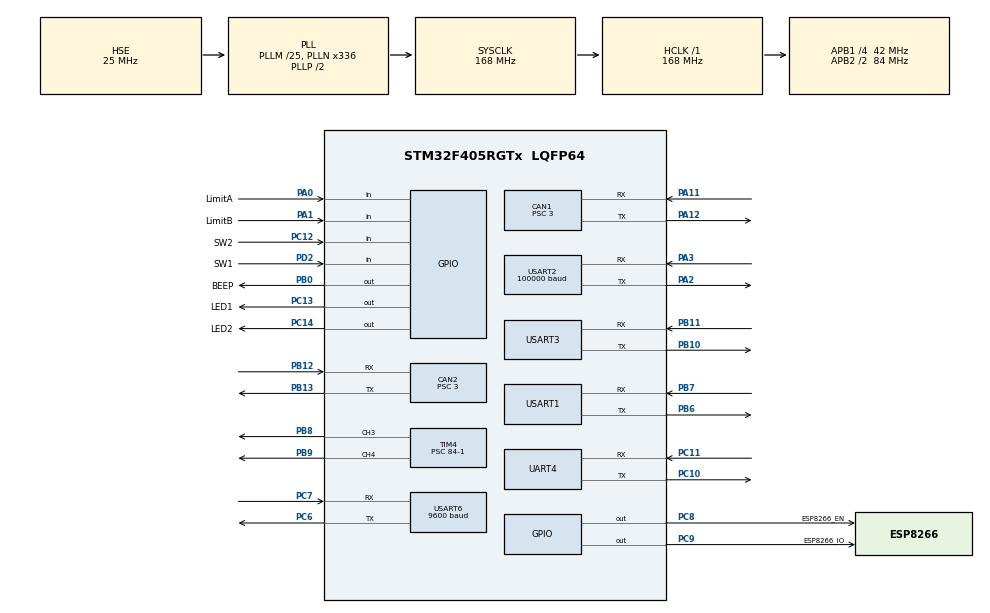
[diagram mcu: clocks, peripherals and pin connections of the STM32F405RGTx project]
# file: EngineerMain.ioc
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CAN1.BS1=CAN_BS1_9TQ
CAN1.BS2=CAN_BS2_4TQ
CAN1.CalculateTimeBit=1000
CAN1.CalculateTimeQuantum=71.42857142857143
CAN1.Prescaler=3
CAN2.BS1=CAN_BS1_9TQ
CAN2.BS2=CAN_BS2_4TQ
CAN2.CalculateTimeBit=1000
CAN2.CalculateTimeQuantum=71.42857142857143
CAN2.Prescaler=3
Dma.Request0=USART6_RX
Dma.Request1=USART6_TX
Dma.Request2=USART3_RX
Dma.Request3=USART3_TX
Dma.Request4=USART2_RX
Dma.Request5=USART2_TX
Dma.Request6=USART1_RX
Dma.Request7=USART1_TX
Dma.Request8=UART4_RX
Dma.Request9=UART4_TX
Dma.UART4_RX.8.Direction=DMA_PERIPH_TO_MEMORY
Dma.UART4_RX.8.FIFOMode=DMA_FIFOMODE_DISABLE
Dma.UART4_RX.8.Instance=DMA1_Stream2
Dma.UART4_RX.8.MemDataAlignment=DMA_MDATAALIGN_BYTE
Dma.UART4_RX.8.MemInc=DMA_MINC_ENABLE
Dma.UART4_RX.8.Mode=DMA_NORMAL
Dma.UART4_RX.8.PeriphDataAlignment=DMA_PDATAALIGN_BYTE
Dma.UART4_RX.8.PeriphInc=DMA_PINC_DISABLE
Dma.UART4_RX.8.Priority=DMA_PRIORITY_LOW
Dma.UART4_TX.9.Direction=DMA_MEMORY_TO_PERIPH
Dma.UART4_TX.9.FIFOMode=DMA_FIFOMODE_DISABLE
Dma.UART4_TX.9.Instance=DMA1_Stream4
Dma.UART4_TX.9.MemDataAlignment=DMA_MDATAALIGN_BYTE
Dma.UART4_TX.9.MemInc=DMA_MINC_ENABLE
Dma.UART4_TX.9.Mode=DMA_NORMAL
Dma.UART4_TX.9.PeriphDataAlignment=DMA_PDATAALIGN_BYTE
Dma.UART4_TX.9.PeriphInc=DMA_PINC_DISABLE
Dma.UART4_TX.9.Priority=DMA_PRIORITY_LOW
Dma.USART1_RX.6.Direction=DMA_PERIPH_TO_MEMORY
Dma.USART1_RX.6.FIFOMode=DMA_FIFOMODE_DISABLE
Dma.USART1_RX.6.Instance=DMA2_Stream2
Dma.USART1_RX.6.MemDataAlignment=DMA_MDATAALIGN_BYTE
Dma.USART1_RX.6.MemInc=DMA_MINC_ENABLE
Dma.USART1_RX.6.Mode=DMA_NORMAL
Dma.USART1_RX.6.PeriphDataAlignment=DMA_PDATAALIGN_BYTE
Dma.USART1_RX.6.PeriphInc=DMA_PINC_DISABLE
Dma.USART1_RX.6.Priority=DMA_PRIORITY_LOW
Dma.USART1_TX.7.Direction=DMA_MEMORY_TO_PERIPH
Dma.USART1_TX.7.FIFOMode=DMA_FIFOMODE_DISABLE
Dma.USART1_TX.7.Instance=DMA2_Stream7
Dma.USART1_TX.7.MemDataAlignment=DMA_MDATAALIGN_BYTE
Dma.USART1_TX.7.MemInc=DMA_MINC_ENABLE
Dma.USART1_TX.7.Mode=DMA_NORMAL
Dma.USART1_TX.7.PeriphDataAlignment=DMA_PDATAALIGN_BYTE
Dma.USART1_TX.7.PeriphInc=DMA_PINC_DISABLE
Dma.USART1_TX.7.Priority=DMA_PRIORITY_LOW
Dma.USART2_RX.4.Direction=DMA_PERIPH_TO_MEMORY
Dma.USART2_RX.4.FIFOMode=DMA_FIFOMODE_DISABLE
Dma.USART2_RX.4.Instance=DMA1_Stream5
Dma.USART2_RX.4.MemDataAlignment=DMA_MDATAALIGN_BYTE
Dma.USART2_RX.4.MemInc=DMA_MINC_ENABLE
Dma.USART2_RX.4.Mode=DMA_NORMAL
Dma.USART2_RX.4.PeriphDataAlignment=DMA_PDATAALIGN_BYTE
Dma.USART2_RX.4.PeriphInc=DMA_PINC_DISABLE
Dma.USART2_RX.4.Priority=DMA_PRIORITY_LOW
Dma.USART2_TX.5.Direction=DMA_MEMORY_TO_PERIPH
Dma.USART2_TX.5.FIFOMode=DMA_FIFOMODE_DISABLE
Dma.USART2_TX.5.Instance=DMA1_Stream6
Dma.USART2_TX.5.MemDataAlignment=DMA_MDATAALIGN_BYTE
Dma.USART2_TX.5.MemInc=DMA_MINC_ENABLE
Dma.USART2_TX.5.Mode=DMA_NORMAL
Dma.USART2_TX.5.PeriphDataAlignment=DMA_PDATAALIGN_BYTE
Dma.USART2_TX.5.PeriphInc=DMA_PINC_DISABLE
Dma.USART2_TX.5.Priority=DMA_PRIORITY_LOW
Dma.USART3_RX.2.Direction=DMA_PERIPH_TO_MEMORY
Dma.USART3_RX.2.FIFOMode=DMA_FIFOMODE_DISABLE
Dma.USART3_RX.2.Instance=DMA1_Stream1
Dma.USART3_RX.2.MemDataAlignment=DMA_MDATAALIGN_BYTE
Dma.USART3_RX.2.MemInc=DMA_MINC_ENABLE
Dma.USART3_RX.2.Mode=DMA_NORMAL
Dma.USART3_RX.2.PeriphDataAlignment=DMA_PDATAALIGN_BYTE
Dma.USART3_RX.2.PeriphInc=DMA_PINC_DISABLE
Dma.USART3_RX.2.Priority=DMA_PRIORITY_LOW
Dma.USART3_TX.3.Direction=DMA_MEMORY_TO_PERIPH
Dma.USART3_TX.3.FIFOMode=DMA_FIFOMODE_DISABLE
Dma.USART3_TX.3.Instance=DMA1_Stream3
Dma.USART3_TX.3.MemDataAlignment=DMA_MDATAALIGN_BYTE
Dma.USART3_TX.3.MemInc=DMA_MINC_ENABLE
Dma.USART3_TX.3.Mode=DMA_NORMAL
Dma.USART3_TX.3.PeriphDataAlignment=DMA_PDATAALIGN_BYTE
Dma.USART3_TX.3.PeriphInc=DMA_PINC_DISABLE
Dma.USART3_TX.3.Priority=DMA_PRIORITY_LOW
Dma.USART6_RX.0.Direction=DMA_PERIPH_TO_MEMORY
Dma.USART6_RX.0.FIFOMode=DMA_FIFOMODE_DISABLE
Dma.USART6_RX.0.Instance=DMA2_Stream1
Dma.USART6_RX.0.MemDataAlignment=DMA_MDATAALIGN_BYTE
Dma.USART6_RX.0.MemInc=DMA_MINC_ENABLE
Dma.USART6_RX.0.Mode=DMA_NORMAL
Dma.USART6_RX.0.PeriphDataAlignment=DMA_PDATAALIGN_BYTE
Dma.USART6_RX.0.PeriphInc=DMA_PINC_DISABLE
Dma.USART6_RX.0.Priority=DMA_PRIORITY_LOW
Dma.USART6_TX.1.Direction=DMA_MEMORY_TO_PERIPH
Dma.USART6_TX.1.FIFOMode=DMA_FIFOMODE_DISABLE
Dma.USART6_TX.1.Instance=DMA2_Stream6
Dma.USART6_TX.1.MemDataAlignment=DMA_MDATAALIGN_BYTE
Dma.USART6_TX.1.MemInc=DMA_MINC_ENABLE
Dma.USART6_TX.1.Mode=DMA_NORMAL
Dma.USART6_TX.1.PeriphDataAlignment=DMA_PDATAALIGN_BYTE
Dma.USART6_TX.1.PeriphInc=DMA_PINC_DISABLE
Dma.USART6_TX.1.Priority=DMA_PRIORITY_LOW
FREERTOS.INCLUDE_eTaskGetState=1
FREERTOS.INCLUDE_uxTaskGetStackHighWaterMark=1
FREERTOS.INCLUDE_vTaskDelayUntil=1
FREERTOS.INCLUDE_xTaskGetCurrentTaskHandle=1
FREERTOS.Tasks01=defaultTask,0,128,StartDefaultTask,Default
FREERTOS.configGENERATE_RUN_TIME_STATS=1
FREERTOS.configTOTAL_HEAP_SIZE=30360
IWDG.Prescaler=IWDG_PRESCALER_32
IWDG.Reload=1000
Mcu.Family=STM32F4
Mcu.Name=STM32F405RGTx
Mcu.Package=LQFP64
NVIC.CAN1_RX0_IRQn=true\:5\:0\:false\:false\:true\:true
NVIC.CAN2_RX0_IRQn=true\:5\:0\:false\:false\:true\:true
NVIC.DMA1_Stream1_IRQn=true\:5\:0\:false\:false\:true\:true
NVIC.DMA1_Stream2_IRQn=true\:5\:0\:false\:false\:true\:true
NVIC.DMA1_Stream3_IRQn=true\:5\:0\:false\:false\:true\:true
NVIC.DMA1_Stream4_IRQn=true\:5\:0\:false\:false\:true\:true
NVIC.DMA1_Stream5_IRQn=true\:5\:0\:false\:false\:true\:true
NVIC.DMA1_Stream6_IRQn=true\:5\:0\:false\:false\:true\:true
NVIC.DMA2_Stream1_IRQn=true\:5\:0\:false\:false\:true\:true
NVIC.DMA2_Stream2_IRQn=true\:5\:0\:false\:false\:true\:true
NVIC.DMA2_Stream6_IRQn=true\:5\:0\:false\:false\:true\:true
NVIC.DMA2_Stream7_IRQn=true\:5\:0\:false\:false\:true\:true
NVIC.PriorityGroup=NVIC_PRIORITYGROUP_4
NVIC.TIM6_DAC_IRQn=true\:0\:0\:false\:false\:true\:false
NVIC.UART4_IRQn=true\:5\:0\:false\:false\:true\:true
NVIC.USART1_IRQn=true\:5\:0\:false\:false\:true\:true
NVIC.USART2_IRQn=true\:5\:0\:false\:false\:true\:true
NVIC.USART3_IRQn=true\:5\:0\:false\:false\:true\:true
NVIC.USART6_IRQn=true\:5\:0\:false\:false\:true\:true
PA0-WKUP.GPIO_Label=LimitA
PA0-WKUP.Signal=GPIO_Input
PA1.GPIO_Label=LimitB
PA1.Signal=GPIO_Input
PA11.Mode=Master
PA11.Signal=CAN1_RX
PA12.Mode=Master
PA12.Signal=CAN1_TX
PA2.Mode=Asynchronous
PA2.Signal=USART2_TX
PA3.Mode=Asynchronous
PA3.Signal=USART2_RX
PB0.GPIO_Label=BEEP
PB0.Signal=GPIO_Output
PB10.Mode=Asynchronous
PB10.Signal=USART3_TX
PB11.Mode=Asynchronous
PB11.Signal=USART3_RX
PB12.Mode=Slave
PB12.Signal=CAN2_RX
PB13.Mode=Slave
PB13.Signal=CAN2_TX
PB6.Mode=Asynchronous
PB6.Signal=USART1_TX
PB7.Mode=Asynchronous
PB7.Signal=USART1_RX
PB8.Signal=S_TIM4_CH3
PB9.Signal=S_TIM4_CH4
PC10.Mode=Asynchronous
PC10.Signal=UART4_TX
PC11.Mode=Asynchronous
PC11.Signal=UART4_RX
PC12.GPIO_Label=SW2
PC12.Signal=GPIO_Input
PC13-ANTI_TAMP.GPIO_Label=LED1
PC13-ANTI_TAMP.Signal=GPIO_Output
PC14-OSC32_IN.GPIO_Label=LED2
PC14-OSC32_IN.Signal=GPIO_Output
PC6.Mode=Asynchronous
PC6.Signal=USART6_TX
PC7.Mode=Asynchronous
PC7.Signal=USART6_RX
PC8.GPIO_Label=ESP8266_EN
PC8.Signal=GPIO_Output
PC9.GPIO_Label=ESP8266_IO
PC9.Signal=GPIO_Output
PD2.GPIO_Label=SW1
PD2.Signal=GPIO_Input
PH0-OSC_IN.Mode=HSE-External-Oscillator
PH0-OSC_IN.Signal=RCC_OSC_IN
PH1-OSC_OUT.Mode=HSE-External-Oscillator
PH1-OSC_OUT.Signal=RCC_OSC_OUT
ProjectManager.HeapSize=0x200
ProjectManager.StackSize=0x400
ProjectManager.TargetToolchain=MDK-ARM V5
RCC.48MHZClocksFreq_Value=84000000
RCC.AHBFreq_Value=168000000
RCC.APB1CLKDivider=RCC_HCLK_DIV4
RCC.APB1Freq_Value=42000000
RCC.APB1TimFreq_Value=84000000
RCC.APB2CLKDivider=RCC_HCLK_DIV2
RCC.APB2Freq_Value=84000000
RCC.APB2TimFreq_Value=168000000
RCC.CortexFreq_Value=168000000
RCC.HCLKFreq_Value=168000000
RCC.HSE_VALUE=25000000
RCC.HSI_VALUE=16000000
RCC.LSE_VALUE=32768
RCC.PLLM=25
RCC.PLLN=336
RCC.PLLSourceVirtual=RCC_PLLSOURCE_HSE
RCC.SYSCLKFreq_VALUE=168000000
RCC.SYSCLKSource=RCC_SYSCLKSOURCE_PLLCLK
RCC.VCOOutputFreq_Value=336000000
SH.S_TIM4_CH3.0=TIM4_CH3,PWM Generation3 CH3
SH.S_TIM4_CH4.0=TIM4_CH4,PWM Generation4 CH4
TIM4.Channel-PWM\ Generation3\ CH3=TIM_CHANNEL_3
TIM4.Channel-PWM\ Generation4\ CH4=TIM_CHANNEL_4
TIM4.Period=3333-1
TIM4.Prescaler=84-1
TIM4.Pulse-PWM\ Generation3\ CH3=3332/2
TIM4.Pulse-PWM\ Generation4\ CH4=3332/2
TIM6.Period=100-1
TIM6.Prescaler=840-1
USART2.BaudRate=100000
USART6.BaudRate=9600
VP_FREERTOS_VS_ENABLE.Mode=Enabled
VP_IWDG_VS_IWDG.Mode=IWDG_Activate
VP_TIM6_VS_ClockSourceINT.Mode=Enable_Timer
board=EngineerMain

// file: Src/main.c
/**
  ******************************************************************************
  * File Name          : main.c
  * Description        : Main program body
  ******************************************************************************
  *
  * Copyright (c) 2018 STMicroelectronics International N.V.
  * All rights reserved.
  *
  * Redistribution and use in source and binary forms, with or without
  * modification, are permitted, provided that the following conditions are met:
  *
  * 1. Redistribution of source code must retain the above copyright notice,
  *    this list of conditions and the following disclaimer.
  * 2. Redistributions in binary form must reproduce the above copyright notice,
  *    this list of conditions and the following disclaimer in the documentation
  *    and/or other materials provided with the distribution.
  * 3. Neither the name of STMicroelectronics nor the names of other
  *    contributors to this software may be used to endorse or promote products
  *    derived from this software without specific written permission.
  * 4. This software, including modifications and/or derivative works of this
  *    software, must execute solely and exclusively on microcontroller or
  *    microprocessor devices manufactured by or for STMicroelectronics.
  * 5. Redistribution and use of this software other than as permitted under
  *    this license is void and will automatically terminate your rights under
  *    this license.
  *
  * THIS SOFTWARE IS PROVIDED BY STMICROELECTRONICS AND CONTRIBUTORS "AS IS"
  * AND ANY EXPRESS, IMPLIED OR STATUTORY WARRANTIES, INCLUDING, BUT NOT
  * LIMITED TO, THE IMPLIED WARRANTIES OF MERCHANTABILITY, FITNESS FOR A
  * PARTICULAR PURPOSE AND NON-INFRINGEMENT OF THIRD PARTY INTELLECTUAL PROPERTY
  * RIGHTS ARE DISCLAIMED TO THE FULLEST EXTENT PERMITTED BY LAW. IN NO EVENT
  * SHALL STMICROELECTRONICS OR CONTRIBUTORS BE LIABLE FOR ANY DIRECT, INDIRECT,
  * INCIDENTAL, SPECIAL, EXEMPLARY, OR CONSEQUENTIAL DAMAGES (INCLUDING, BUT NOT
  * LIMITED TO, PROCUREMENT OF SUBSTITUTE GOODS OR SERVICES; LOSS OF USE, DATA,
  * OR PROFITS; OR BUSINESS INTERRUPTION) HOWEVER CAUSED AND ON ANY THEORY OF
  * LIABILITY, WHETHER IN CONTRACT, STRICT LIABILITY, OR TORT (INCLUDING
  * NEGLIGENCE OR OTHERWISE) ARISING IN ANY WAY OUT OF THE USE OF THIS SOFTWARE,
  * EVEN IF ADVISED OF THE POSSIBILITY OF SUCH DAMAGE.
  *
  ******************************************************************************
  */
#include "main.h"
#include "stm32f4xx_hal.h"
#include "cmsis_os.h"
#include "can.h"
#include "dma.h"
#include "iwdg.h"
#include "tim.h"
#include "usart.h"
#include "gpio.h"

/* USER CODE BEGIN Includes */
#include "bsp_can.h"
#include "bsp_Uart.h"
#include "SystemState.h"
#include "LaserRangeFinder.h"
/* USER CODE END Includes */

/* USER CODE BEGIN PV */
/* Private variables ---------------------------------------------------------*/

/* USER CODE END PV */

void SystemClock_Config(void);
void Error_Handler(void);
void MX_FREERTOS_Init(void);

/* USER CODE BEGIN PFP */
/* Private function prototypes -----------------------------------------------*/
void vRobotCtrTask(void *pvParameters);//机器人控制函数
void vMotorGetZero_Task(void *pvParameters);//电机归零函数
void vLED_Task(void *pvParameters);//LED显示函数
void vLED2_Task(void *pvParameters);//LED显示函数
void vBEEP_Task(void *pvParameters);//蜂鸣器函数
void vFEEDDOG_Task(void *pvParameters);//看门狗
void vTest_Task(void *pvParameters);//测试函数
/* USER CODE END PFP */

int main(void)
{

  /* MCU Configuration----------------------------------------------------------*/

  /* Reset of all peripherals, Initializes the Flash interface and the Systick. */
  HAL_Init();

  /* Configure the system clock */
  SystemClock_Config();

  /* Initialize all configured peripherals */
  MX_GPIO_Init();
  MX_DMA_Init();
  MX_CAN1_Init();
  MX_CAN2_Init();
  MX_TIM4_Init();
  MX_TIM6_Init();
  MX_UART4_Init();
  MX_USART1_UART_Init();
  MX_USART2_UART_Init();
  MX_USART3_UART_Init();
  MX_USART6_UART_Init();
  MX_IWDG_Init();

  /* USER CODE BEGIN 2 */
	if(!Motor_Inite_ALL())while(1);			//电机PID服务
	if(!Can_Inite())while(1);						//CAN发送 接收服务
	if(!UART_Inite())while(1);					//串口服务
	if(!SystemState_Inite())while(1);		//系统状态服务
	if(!LaserRFInite())while(1);				//激光测距仪服务

	xTaskCreate( vRobotCtrTask, "RoboteCTR_Task", 400, NULL, 4, NULL );//机器人控制服务
	xTaskCreate( vMotorGetZero_Task, "MotorGetZero_Task", 200, NULL, 4, NULL );//电机归零任务

	xTaskCreate( vBEEP_Task, "BEEP_Task", 200, NULL, 1, NULL );//BEEP提示服务

	if(!xTaskCreate( vLED_Task, "LED_Task", 200, NULL, 1, NULL ))while(1);//LED提示服务
	if(!xTaskCreate( vLED2_Task, "LED2_Task", 200, NULL, 1, NULL ))while(1);//CAN LED提示服务

	xTaskCreate( vFEEDDOG_Task,"DOOG_Task", 200, NULL, 1, NULL );//看门狗与遥控断线保护

	xTaskCreate( vTest_Task, "Test_Task", 200, NULL, 1, NULL );

	printf("System Inite OK.....\r\n\r\n");
  /* USER CODE END 2 */

  /* Call init function for freertos objects (in freertos.c) */
  MX_FREERTOS_Init();

  /* Start scheduler */
  osKernelStart();

  /* We should never get here as control is now taken by the scheduler */

  /* Infinite loop */
  while (1)
  {

  }

}

/** System Clock Configuration
*/
void SystemClock_Config(void)
{

  RCC_OscInitTypeDef RCC_OscInitStruct;
  RCC_ClkInitTypeDef RCC_ClkInitStruct;

    /**Configure the main internal regulator output voltage
    */
  __HAL_RCC_PWR_CLK_ENABLE();

  __HAL_PWR_VOLTAGESCALING_CONFIG(PWR_REGULATOR_VOLTAGE_SCALE1);

    /**Initializes the CPU, AHB and APB busses clocks
    */
  RCC_OscInitStruct.OscillatorType = RCC_OSCILLATORTYPE_LSI|RCC_OSCILLATORTYPE_HSE;
  RCC_OscInitStruct.HSEState = RCC_HSE_ON;
  RCC_OscInitStruct.LSIState = RCC_LSI_ON;
  RCC_OscInitStruct.PLL.PLLState = RCC_PLL_ON;
  RCC_OscInitStruct.PLL.PLLSource = RCC_PLLSOURCE_HSE;
  RCC_OscInitStruct.PLL.PLLM = 25;
  RCC_OscInitStruct.PLL.PLLN = 336;
  RCC_OscInitStruct.PLL.PLLP = RCC_PLLP_DIV2;
  RCC_OscInitStruct.PLL.PLLQ = 4;
  if (HAL_RCC_OscConfig(&RCC_OscInitStruct) != HAL_OK)
  {
    Error_Handler();
  }

    /**Initializes the CPU, AHB and APB busses clocks
    */
  RCC_ClkInitStruct.ClockType = RCC_CLOCKTYPE_HCLK|RCC_CLOCKTYPE_SYSCLK
                              |RCC_CLOCKTYPE_PCLK1|RCC_CLOCKTYPE_PCLK2;
  RCC_ClkInitStruct.SYSCLKSource = RCC_SYSCLKSOURCE_PLLCLK;
  RCC_ClkInitStruct.AHBCLKDivider = RCC_SYSCLK_DIV1;
  RCC_ClkInitStruct.APB1CLKDivider = RCC_HCLK_DIV4;
  RCC_ClkInitStruct.APB2CLKDivider = RCC_HCLK_DIV2;

  if (HAL_RCC_ClockConfig(&RCC_ClkInitStruct, FLASH_LATENCY_5) != HAL_OK)
  {
    Error_Handler();
  }

    /**Configure the Systick interrupt time
    */
  HAL_SYSTICK_Config(HAL_RCC_GetHCLKFreq()/1000);

    /**Configure the Systick
    */
  HAL_SYSTICK_CLKSourceConfig(SYSTICK_CLKSOURCE_HCLK);

  /* SysTick_IRQn interrupt configuration */
  HAL_NVIC_SetPriority(SysTick_IRQn, 15, 0);
}

void Error_Handler(void)
{
  while(1)
  {
  }
}

/************************ (C) COPYRIGHT STMicroelectronics *****END OF FILE****/

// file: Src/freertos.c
/**
  ******************************************************************************
  * File Name          : freertos.c
  * Description        : Code for freertos applications
  ******************************************************************************
  *
  * Copyright (c) 2018 STMicroelectronics International N.V.
  * All rights reserved.
  *
  * Redistribution and use in source and binary forms, with or without
  * modification, are permitted, provided that the following conditions are met:
  *
  * 1. Redistribution of source code must retain the above copyright notice,
  *    this list of conditions and the following disclaimer.
  * 2. Redistributions in binary form must reproduce the above copyright notice,
  *    this list of conditions and the following disclaimer in the documentation
  *    and/or other materials provided with the distribution.
  * 3. Neither the name of STMicroelectronics nor the names of other
  *    contributors to this software may be used to endorse or promote products
  *    derived from this software without specific written permission.
  * 4. This software, including modifications and/or derivative works of this
  *    software, must execute solely and exclusively on microcontroller or
  *    microprocessor devices manufactured by or for STMicroelectronics.
  * 5. Redistribution and use of this software other than as permitted under
  *    this license is void and will automatically terminate your rights under
  *    this license.
  *
  * THIS SOFTWARE IS PROVIDED BY STMICROELECTRONICS AND CONTRIBUTORS "AS IS"
  * AND ANY EXPRESS, IMPLIED OR STATUTORY WARRANTIES, INCLUDING, BUT NOT
  * LIMITED TO, THE IMPLIED WARRANTIES OF MERCHANTABILITY, FITNESS FOR A
  * PARTICULAR PURPOSE AND NON-INFRINGEMENT OF THIRD PARTY INTELLECTUAL PROPERTY
  * RIGHTS ARE DISCLAIMED TO THE FULLEST EXTENT PERMITTED BY LAW. IN NO EVENT
  * SHALL STMICROELECTRONICS OR CONTRIBUTORS BE LIABLE FOR ANY DIRECT, INDIRECT,
  * INCIDENTAL, SPECIAL, EXEMPLARY, OR CONSEQUENTIAL DAMAGES (INCLUDING, BUT NOT
  * LIMITED TO, PROCUREMENT OF SUBSTITUTE GOODS OR SERVICES; LOSS OF USE, DATA,
  * OR PROFITS; OR BUSINESS INTERRUPTION) HOWEVER CAUSED AND ON ANY THEORY OF
  * LIABILITY, WHETHER IN CONTRACT, STRICT LIABILITY, OR TORT (INCLUDING
  * NEGLIGENCE OR OTHERWISE) ARISING IN ANY WAY OUT OF THE USE OF THIS SOFTWARE,
  * EVEN IF ADVISED OF THE POSSIBILITY OF SUCH DAMAGE.
  *
  ******************************************************************************
  */

#include "FreeRTOS.h"
#include "task.h"
#include "cmsis_os.h"

osThreadId defaultTaskHandle;

void StartDefaultTask(void const * argument);

void MX_FREERTOS_Init(void); /* (MISRA C 2004 rule 8.1) */

/* Hook prototypes */
void configureTimerForRunTimeStats(void);
unsigned long getRunTimeCounterValue(void);

/* USER CODE BEGIN 1 */
/* Functions needed when configGENERATE_RUN_TIME_STATS is on */
void configureTimerForRunTimeStats(void)
{

}

unsigned long getRunTimeCounterValue(void)
{
return 0;
}
/* USER CODE END 1 */

/* Init FreeRTOS */

void MX_FREERTOS_Init(void) {

  /* Create the thread(s) */
  /* definition and creation of defaultTask */
  osThreadDef(defaultTask, StartDefaultTask, osPriorityNormal, 0, 128);
  defaultTaskHandle = osThreadCreate(osThread(defaultTask), NULL);

}

/* StartDefaultTask function */
void StartDefaultTask(void const * argument)
{

  for(;;)
  {
    osDelay(1);
  }
}

/************************ (C) COPYRIGHT STMicroelectronics *****END OF FILE****/
